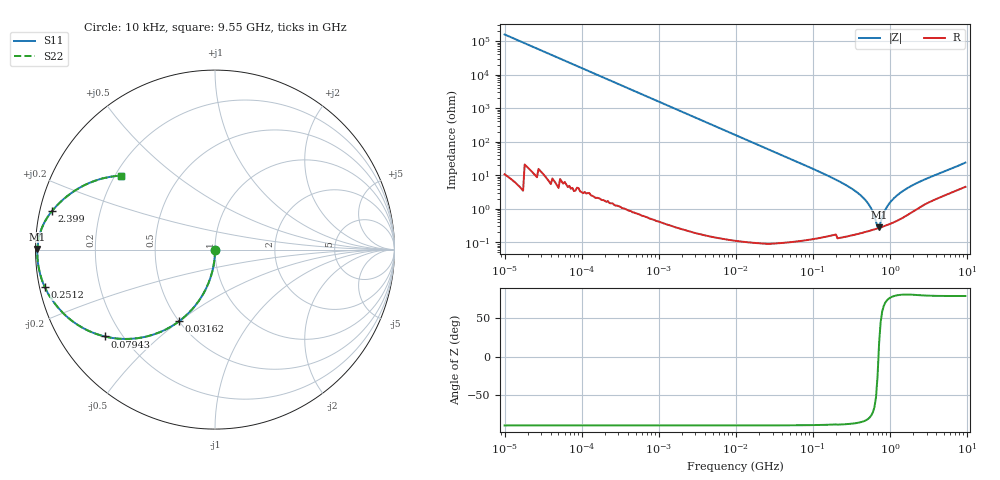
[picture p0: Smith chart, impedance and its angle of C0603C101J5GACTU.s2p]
! C0603C101K5GAC
! Temp = 25?C, Bias = 0VDC, Shunt
! KEMET S2P Model
# HZ S DB R 50
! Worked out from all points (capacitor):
!   300 points, 10 kHz to 9.55 GHz, reference 50 ohm
!   read as one part in shunt: C = 101 pF near 10.47 kHz
!   lowest |Z| = 281 mohm at 724.4 MHz (marker M1)
!   series resonance near 711.4 MHz, so ESL is about 490 pH
!   S11 on the Smith chart (normalised r, x): 10 kHz: 1.00, -0.00; 31.62 MHz: 0.50, -0.50; 79.43 MHz: 0.14, -0.34; 251.2 MHz: 0.01, -0.11; 2.399 GHz: 0.04, +0.12; 9.55 GHz: 0.22, +0.33
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10000  -75.97 -90.0  0.00 -0.0  0.00 -0.0  -75.97 -90.0
100000  -55.97 -90.1  -0.00 -0.1  -0.00 -0.1  -55.97 -90.1
1000000  -35.97 -90.9  -0.00 -0.9  -0.00 -0.9  -35.97 -90.9
3801893  -24.41 -93.5  -0.02 -3.5  -0.02 -3.5  -24.41 -93.5
1e7  -16.12 -99.0  -0.11 -9.0  -0.11 -9.0  -16.12 -99.0
1.905462e7  -10.80 -106.8  -0.38 -16.8  -0.38 -16.8  -10.80 -106.8
3.162278e7  -6.99 -116.7  -0.98 -26.6  -0.98 -26.6  -6.99 -116.7
5.248072e7  -3.90 -129.9  -2.30 -39.7  -2.30 -39.7  -3.90 -129.9
7.943284e7  -2.13 -141.8  -4.18 -51.5  -4.18 -51.5  -2.13 -141.8
1e8  -1.45 -148.2  -5.57 -57.8  -5.57 -57.8  -1.45 -148.2
2.511884e8  -0.26 -167.6  -13.33 -76.1  -13.33 -76.1  -0.26 -167.6
3.801893e8  -0.12 -173.2  -18.53 -79.8  -18.53 -79.8  -0.12 -173.2
5.01187e8  -0.09 -176.3  -23.85 -79.0  -23.85 -79.0  -0.09 -176.3
6.025592e8  -0.09 -178.3  -30.12 -70.9  -30.12 -70.9  -0.09 -178.3
6.918312e8  -0.09 -179.7  -38.86 -25.5  -38.86 -25.5  -0.09 -179.7
7.244354e8  -0.09 179.8  -39.07 17.0  -39.07 17.0  -0.09 179.8
8.317639e8  -0.11 178.5  -30.74 64.4  -30.74 64.4  -0.11 178.5
1e9  -0.14 176.7  -24.48 73.3  -24.48 73.3  -0.14 176.7
1.445439e9  -0.25 172.8  -17.91 73.5  -17.91 73.5  -0.25 172.8
2.398834e9  -0.61 166.6  -12.58 66.8  -12.58 66.8  -0.61 166.6
5.01187e9  -1.64 155.3  -7.43 54.4  -7.43 54.4  -1.64 155.3
9.549916e9  -3.55 141.7  -3.99 40.7  -3.99 40.7  -3.55 141.7
